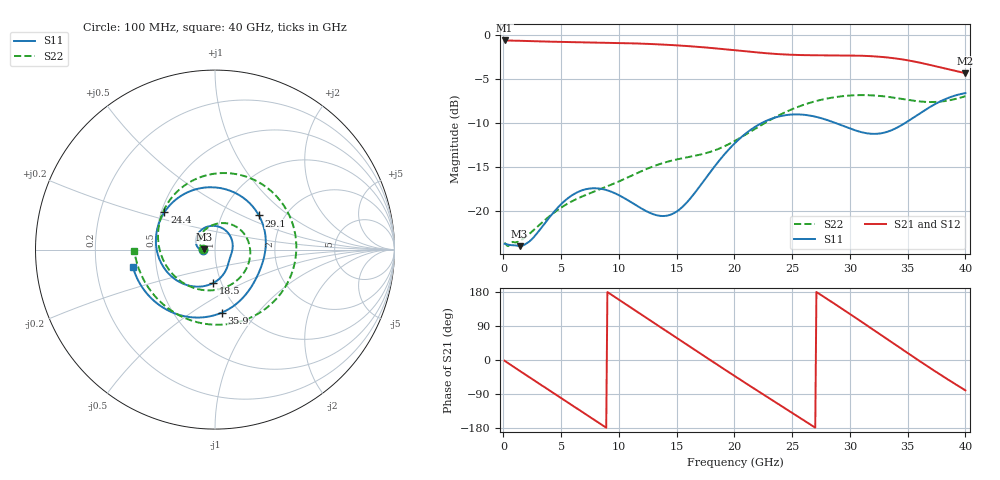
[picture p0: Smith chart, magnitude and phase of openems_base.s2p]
! D_s8_cap_2: L1 (ref L2 GND) → L3 (ref L4 PWR), capacitor GND–PWR at 2 mm
! stackup: 8-layer 1.6 mm FR-4 (generic)
! ports: 1, 2
! openEMS 0.37.0, staircase, base mesh (dfine 0.035 mm), 886275 cells
# Hz S RI R 50
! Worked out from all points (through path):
!   400 points, 100 MHz to 40 GHz, reference 50 ohm
!   highest |S21| = -0.61 dB at 100 MHz (marker M1); lowest = -4.3 dB at 40 GHz (marker M2)
!   group delay of S21, straight-line fit = 55.5 ps
!   lowest |S11| = -24.0 dB at 1.4 GHz (marker M3), VSWR 1.13, Z = 44.1 + j0.112 ohm
!   |S11| at or under -10 dB: start of sweep to 22.36 GHz; 28.76 GHz to 34.77 GHz (6.013 GHz wide, 18.9 % of centre)
!   |S22| runs from -24.0 to -6.8 dB; largest |S21 - S12| = 0.0042
!   S11 on the Smith chart (normalised r, x): 100 MHz: 0.88, +0.00; 18.5 GHz: 0.91, -0.35; 24.4 GHz: 0.52, +0.25; 29.1 GHz: 1.49, +0.63; 35.9 GHz: 0.83, -0.67; 40 GHz: 0.37, -0.09
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1e8  -0.0652 0.000515  0.9317 -0.0334  0.9327 -0.0346  -0.0661 0.00176
1.4e9  -0.0631 0.00127  0.8158 -0.4428  0.816 -0.4426  -0.0677 0.00586
4.1e9  -0.0936 0.00943  0.117 -0.9101  0.117 -0.91  -0.0855 0.0408
5.4e9  -0.1067 0.0445  -0.2921 -0.8655  -0.2921 -0.8654  -0.0817 0.0715
6.8e9  -0.0891 0.0962  -0.6613 -0.625  -0.6613 -0.625  -0.0629 0.1032
8.3e9  -0.0278 0.1312  -0.8822 -0.2093  -0.8822 -0.2093  -0.0301 0.1289
9.8e9  0.0465 0.1159  -0.8644 0.2608  -0.8643 0.2609  0.0127 0.1447
1.17e10  0.0967 0.0426  -0.5126 0.7344  -0.5123 0.7341  0.0854 0.1419
1.34e10  0.0922 -0.0191  -0.00931 0.886  -0.00985 0.8856  0.1583 0.093
1.47e10  0.0811 -0.0527  0.3793 0.7905  0.3785 0.7909  0.1936 0.016
1.62e10  0.0684 -0.0965  0.7152 0.4846  0.7153 0.4858  0.178 -0.099
1.85e10  -0.0108 -0.1866  0.8205 -0.1753  0.8218 -0.1757  0.0107 -0.2236
2.01e10  -0.139 -0.2021  0.5903 -0.5678  0.5906 -0.5691  -0.1553 -0.198
2.22e10  -0.3056 -0.0632  0.0674 -0.7913  0.0664 -0.7918  -0.3039 -0.0172
2.44e10  -0.2818 0.2082  -0.4762 -0.6125  -0.477 -0.6119  -0.2757 0.2381
2.67e10  -0.00901 0.347  -0.7619 -0.0979  -0.7613 -0.0968  -0.0586 0.4111
2.91e10  0.2447 0.1905  -0.5846 0.4967  -0.5833 0.4951  0.2427 0.3759
3.13e10  0.2765 -0.0273  -0.0648 0.7592  -0.0676 0.7581  0.434 0.1395
3.34e10  0.2156 -0.1855  0.4637 0.5822  0.4627 0.586  0.4053 -0.1829
3.59e10  0.0375 -0.3514  0.7005 -0.000912  0.7045 -0.00126  0.059 -0.4165
3.8e10  -0.2479 -0.3454  0.484 -0.4352  0.4841 -0.4386  -0.2881 -0.3055
4e10  -0.4579 -0.0958  0.1046 -0.5989  0.1024 -0.5999  -0.4492 -0.00891
